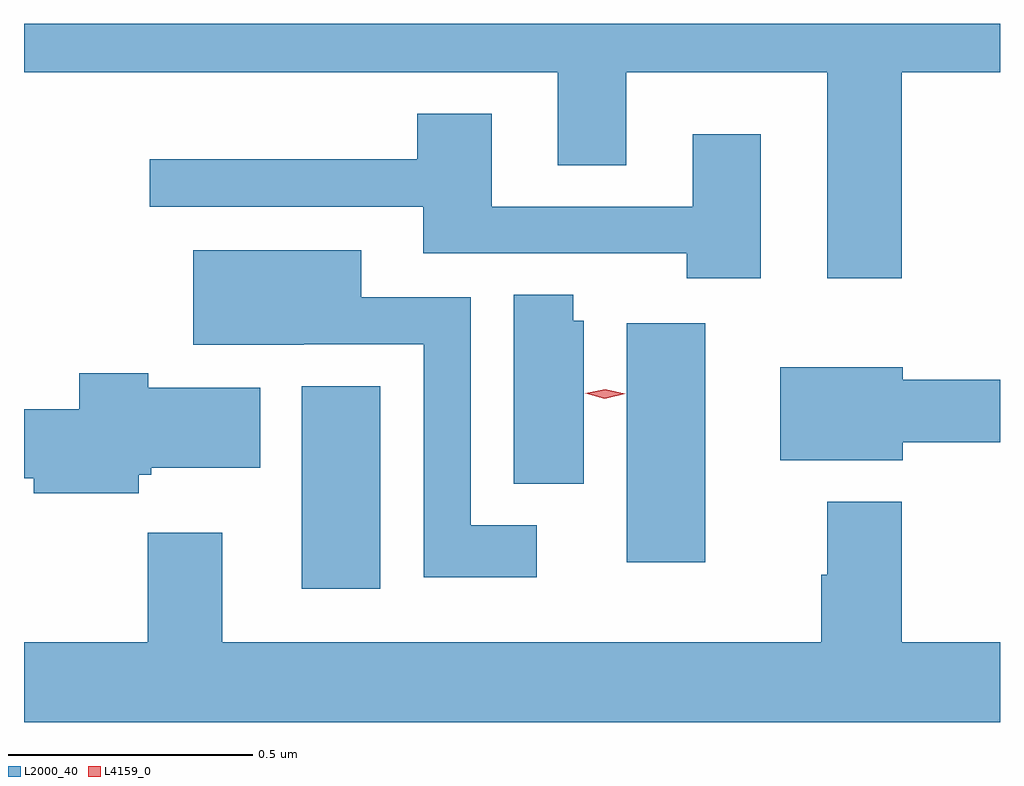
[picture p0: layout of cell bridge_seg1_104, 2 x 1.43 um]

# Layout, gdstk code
import gdstk
lib = gdstk.Library(unit=1e-6, precision=1e-09)
def R(c, l, rs):  # rectangles x0, y0, x1, y1
    for r in rs: c.add(gdstk.rectangle(r[:2], r[2:], *l))
def P(c, l, *ps):  # polygons
    for p in ps: c.add(gdstk.Polygon(p, *l))
L2000_40 = (2000, 40)
L4159_0 = (4159, 0)

bridge_seg1_104 = lib.new_cell('bridge_seg1_104')
R(bridge_seg1_104, L2000_40, [(292.79,582.642,292.951,583.057), (293.456,582.696,293.617,583.186)])
P(bridge_seg1_104, L2000_40, [(294.02,583.7),(294.221,583.7),(294.221,583.8),(292.221,583.8),(292.221,583.7),(293.315,583.7),(293.315,583.51),(293.455,583.51),(293.455,583.7),(293.867,583.7),(293.867,583.278),(294.02,583.278)],
  [(293.731,583.573),(293.591,583.573),(293.591,583.425),(293.179,583.425),(293.179,583.615),(293.027,583.615),(293.027,583.522),(292.479,583.522),(292.479,583.425),(293.039,583.425),(293.039,583.329),(293.579,583.329),(293.579,583.278),(293.731,583.278)],
  [(293.272,582.772),(293.136,582.772),(293.136,583.239),(292.912,583.239),(292.912,583.336),(292.568,583.336),(292.568,583.142),(292.794,583.142),(292.794,583.143),(293.04,583.143),(293.04,582.665),(293.272,582.665)],
  [(293.368,583.191),(293.347,583.191),(293.347,583.244),(293.225,583.244),(293.225,582.857),(293.368,582.857)],
  [(294.022,582.942),(294.221,582.942),(294.221,583.07),(294.022,583.07),(294.022,583.096),(293.771,583.096),(293.771,582.905),(294.022,582.905)],
  [(292.456,582.875),(292.482,582.875),(292.482,582.89),(292.705,582.89),(292.705,583.054),(292.476,583.054),(292.476,583.084),(292.334,583.084),(292.334,583.01),(292.221,583.01),(292.221,582.868),(292.241,582.868),(292.241,582.838),(292.456,582.838)],
  [(294.221,582.532),(294.02,582.532),(294.02,582.82),(293.867,582.82),(293.867,582.671),(293.855,582.671),(293.855,582.532),(292.627,582.532),(292.627,582.757),(292.475,582.757),(292.475,582.532),(292.221,582.532),(292.221,582.368),(294.221,582.368)])
P(bridge_seg1_104, L4159_0, [(293.411,583.031),(293.371,583.042),(293.37,583.042),(293.371,583.042),(293.412,583.051),(293.453,583.041),(293.453,583.041),(293.453,583.041)])

lib.write_gds('bridge_seg1_104.gds')
